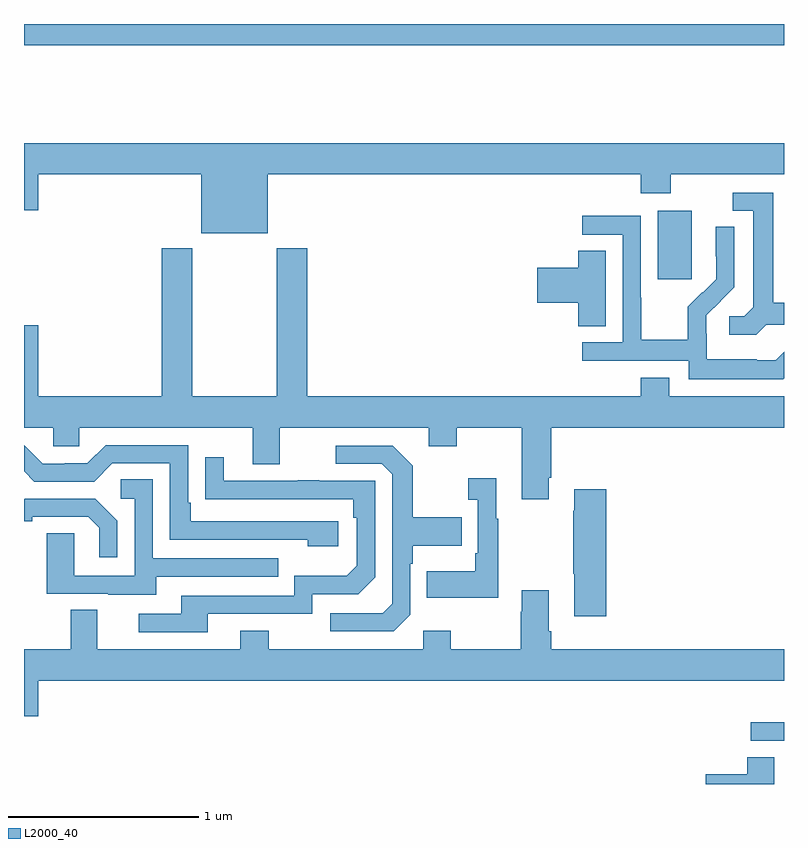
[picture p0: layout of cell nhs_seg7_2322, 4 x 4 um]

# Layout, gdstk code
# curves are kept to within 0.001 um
import gdstk
lib = gdstk.Library(unit=1e-6, precision=1e-09)
def R(c, l, rs):  # rectangles x0, y0, x1, y1
    for r in rs: c.add(gdstk.rectangle(r[:2], r[2:], *l))
def P(c, l, *ps):  # polygons
    for p in ps: c.add(gdstk.Polygon(p, *l))
L2000_40 = (2000, 40)

nhs_seg7_2322 = lib.new_cell('nhs_seg7_2322')
R(nhs_seg7_2322, L2000_40, [(264.825,1072.227,265,1072.326), (264.335,1074.657,264.514,1075.018), (261,1075.888,265,1076)])
P(nhs_seg7_2322, L2000_40, [(262.282,1075.208),(264.245,1075.208),(264.245,1075.109),(264.405,1075.109),(264.405,1075.208),(265,1075.208),(265,1075.372),(261,1075.372),(261,1075.02),(261.076,1075.02),(261.076,1075.208),(261.932,1075.208),(261.932,1074.899),(262.282,1074.899)],
  [(264.906,1074.417),(265,1074.417),(265,1074.533),(264.943,1074.533),(264.943,1075.113),(264.729,1075.113),(264.729,1075.017),(264.839,1075.017),(264.839,1074.509),(264.792,1074.462),(264.711,1074.462),(264.711,1074.365),(264.854,1074.365)],
  [(265,1074.136),(265,1074.274),(264.957,1074.231),(264.857,1074.231),(264.857,1074.235),(264.594,1074.235),(264.594,1074.369),(264.592,1074.369),(264.592,1074.466),(264.738,1074.614),(264.738,1074.932),(264.642,1074.932),(264.642,1074.778),(264.644,1074.778),(264.644,1074.656),(264.573,1074.585),(264.57,1074.588),(264.493,1074.511),(264.493,1074.337),(264.249,1074.337),(264.249,1074.56),(264.246,1074.56),(264.246,1074.99),(263.937,1074.99),(263.937,1074.891),(264.15,1074.891),(264.15,1074.324),(263.937,1074.324),(263.937,1074.228),(264.498,1074.228),(264.498,1074.131),(264.995,1074.131)],
  [(263.761,1073.611),(263.774,1073.611),(263.774,1073.876),(265,1073.876),(265,1074.04),(264.397,1074.04),(264.397,1074.139),(264.245,1074.139),(264.245,1074.04),(262.49,1074.04),(262.49,1074.82),(262.33,1074.82),(262.33,1074.04),(261.885,1074.04),(261.885,1074.82),(261.725,1074.82),(261.725,1074.04),(261.076,1074.04),(261.076,1074.415),(261,1074.415),(261,1073.876),(261.153,1073.876),(261.153,1073.778),(261.291,1073.778),(261.291,1073.876),(262.205,1073.876),(262.205,1073.682),(262.345,1073.682),(262.345,1073.876),(263.129,1073.876),(263.129,1073.777),(263.277,1073.777),(263.277,1073.876),(263.621,1073.876),(263.621,1073.499),(263.761,1073.499)],
  [(264.061,1074.806),(263.918,1074.806),(263.918,1074.716),(263.7,1074.716),(263.7,1074.533),(263.918,1074.533),(263.918,1074.409),(264.061,1074.409)],
  [(262.654,1073.382),(261.877,1073.382),(261.877,1073.479),(261.864,1073.479),(261.864,1073.784),(261.429,1073.784),(261.333,1073.688),(261.215,1073.688),(261.215,1073.685),(261.099,1073.685),(261,1073.784),(261,1073.646),(261.054,1073.592),(261.369,1073.592),(261.465,1073.688),(261.768,1073.688),(261.768,1073.286),(262.493,1073.286),(262.493,1073.252),(262.654,1073.252)],
  [(263.034,1072.89),(263.034,1073.159),(263.047,1073.159),(263.047,1073.255),(263.303,1073.255),(263.303,1073.403),(263.047,1073.403),(263.047,1073.675),(262.941,1073.781),(262.641,1073.781),(262.641,1073.685),(262.884,1073.685),(262.938,1073.631),(262.938,1072.95),(262.887,1072.899),(262.611,1072.899),(262.611,1072.803),(262.947,1072.803)],
  [(261.967,1072.896),(262.518,1072.896),(262.518,1072.998),(262.758,1072.998),(262.848,1073.088),(262.848,1073.595),(262.553,1073.595),(262.553,1073.6),(262.441,1073.6),(262.441,1073.595),(262.051,1073.595),(262.051,1073.719),(261.955,1073.719),(261.955,1073.5),(262.732,1073.499),(262.732,1073.402),(262.752,1073.402),(262.752,1073.148),(262.699,1073.095),(262.422,1073.095),(262.422,1072.992),(261.827,1072.992),(261.827,1072.896),(261.603,1072.896),(261.603,1072.8),(261.967,1072.8)],
  [(263.497,1073.395),(263.485,1073.395),(263.485,1073.608),(263.337,1073.608),(263.337,1073.495),(263.388,1073.495),(263.388,1073.215),(263.376,1073.215),(263.376,1073.119),(263.119,1073.119),(263.119,1072.979),(263.497,1072.979)],
  [(261.697,1073.091),(262.337,1073.091),(262.337,1073.187),(261.678,1073.187),(261.678,1073.603),(261.51,1073.603),(261.51,1073.502),(261.582,1073.502),(261.582,1073.097),(261.264,1073.097),(261.264,1073.321),(261.119,1073.321),(261.119,1073.001),(261.443,1073.001),(261.443,1072.997),(261.697,1072.997)],
  [(264.065,1073.551),(263.897,1073.551),(263.897,1073.438),(263.89,1073.438),(263.89,1073.107),(263.897,1073.107),(263.897,1072.884),(264.065,1072.884)],
  [(261.492,1073.386),(261.376,1073.502),(261.004,1073.502),(261.004,1073.499),(261,1073.499),(261,1073.384),(261.043,1073.384),(261.043,1073.406),(261.338,1073.406),(261.395,1073.349),(261.395,1073.193),(261.492,1073.193)],
  [(261.076,1072.544),(265,1072.544),(265,1072.708),(263.774,1072.708),(263.774,1072.804),(263.761,1072.804),(263.761,1073.02),(263.621,1073.02),(263.621,1072.907),(263.614,1072.907),(263.614,1072.708),(263.247,1072.708),(263.247,1072.807),(263.1,1072.807),(263.1,1072.708),(262.287,1072.708),(262.287,1072.807),(262.139,1072.807),(262.139,1072.708),(261.385,1072.708),(261.385,1072.916),(261.245,1072.916),(261.245,1072.708),(261,1072.708),(261,1072.356),(261.076,1072.356)],
  [(264.949,1072.142),(264.806,1072.142),(264.806,1072.052),(264.588,1072.052),(264.588,1072),(264.949,1072)])

lib.write_gds('nhs_seg7_2322.gds')
